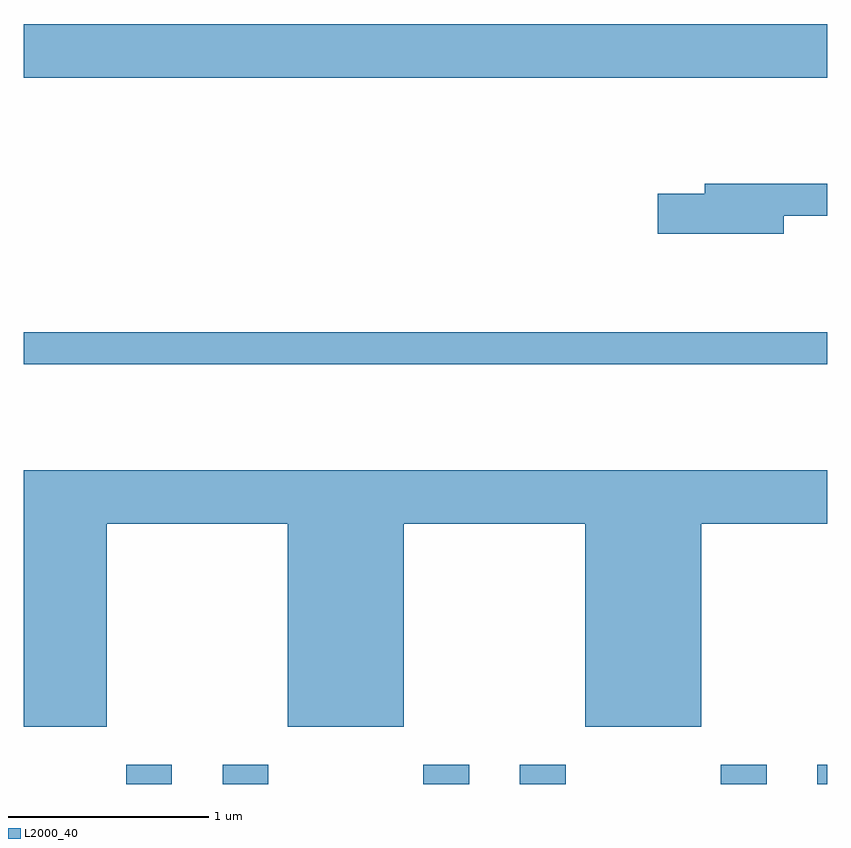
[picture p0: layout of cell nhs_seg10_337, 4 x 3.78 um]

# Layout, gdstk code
import gdstk
lib = gdstk.Library(unit=1e-6, precision=1e-09)
def R(c, l, rs):  # rectangles x0, y0, x1, y1
    for r in rs: c.add(gdstk.rectangle(r[:2], r[2:], *l))
def P(c, l, *ps):  # polygons
    for p in ps: c.add(gdstk.Polygon(p, *l))
L2000_40 = (2000, 40)

nhs_seg10_337 = lib.new_cell('nhs_seg10_337')
R(nhs_seg10_337, L2000_40, [(194.121,2212.522,194.349,2212.619), (194.601,2212.522,194.829,2212.619), (195.601,2212.522,195.829,2212.619), (196.081,2212.522,196.309,2212.619), (197.081,2212.522,197.309,2212.619), (197.561,2212.522,197.611,2212.619), (193.611,2214.611,197.611,2214.769), (193.611,2216.036,197.611,2216.304)])
P(nhs_seg10_337, L2000_40, [(197.394,2215.351),(197.611,2215.351),(197.611,2215.509),(197.001,2215.509),(197.001,2215.459),(196.766,2215.459),(196.766,2215.261),(197.394,2215.261)],
  [(194.024,2213.816),(194.926,2213.816),(194.926,2212.806),(195.504,2212.806),(195.504,2213.816),(196.406,2213.816),(196.406,2212.806),(196.984,2212.806),(196.984,2213.816),(197.611,2213.816),(197.611,2214.084),(193.611,2214.084),(193.611,2212.806),(194.024,2212.806)])

lib.write_gds('nhs_seg10_337.gds')
